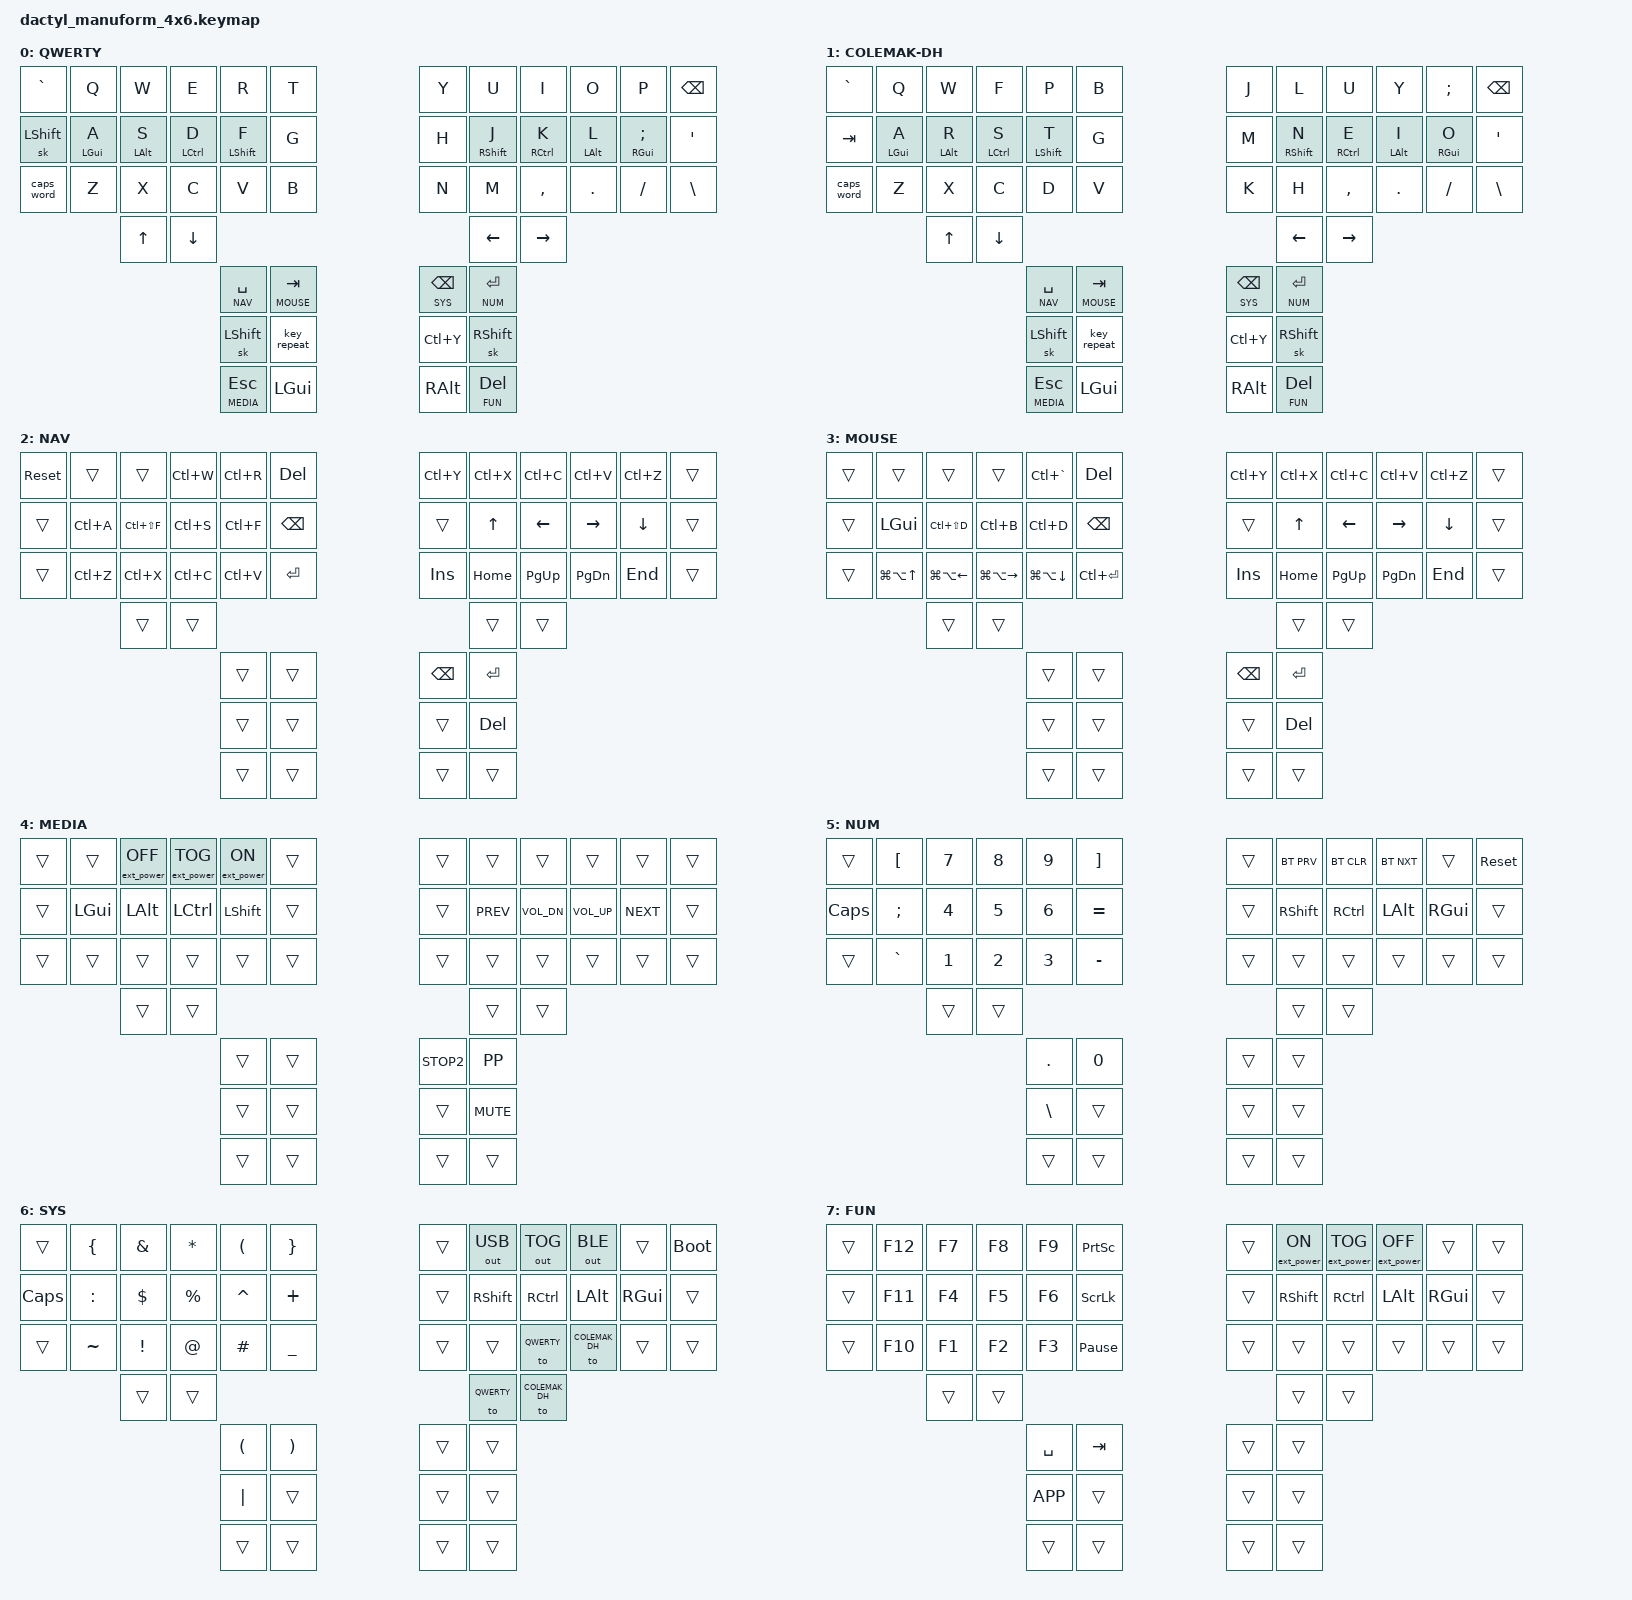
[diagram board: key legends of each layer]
#include <behaviors.dtsi>
#include <dt-bindings/zmk/keys.h>
#include <dt-bindings/zmk/bt.h>
#include <dt-bindings/zmk/outputs.h>
#include <dt-bindings/zmk/ext_power.h>

#define QWERTY 0
#define COLEMAK_DH 1
#define NAV 2
#define MOUSE 3
#define MEDIA 4
#define NUM 5
#define SYS 6
#define FUN 7


#define UNDO LC(Z)
#define REDO LC(Y)
#define COPY LC(C)
#define CUT LC(X)
#define PASTE LC(V)

#define P_ESC 0
#define P_Q 1
#define P_W 2
#define P_E 3
#define P_R 4 
#define P_T 5
#define P_Y 6
#define P_U 7
#define P_I 8 
#define P_O 9
#define P_P 10
#define P_BSPC 11
#define P_TAB 12
#define P_A 13
#define P_S 14
#define P_D 15
#define P_F 16
#define P_G 17
#define P_H 18
#define P_J 19
#define P_K 20
#define P_L 21
#define P_SEMI 22
#define P_SQT 23
#define P_CAPS 24
#define P_Z 25
#define P_X 26
#define P_C 27
#define P_V 28
#define P_B 29
#define P_N 30
#define P_M 31
#define P_COMMA 32
#define P_DOT 33
#define P_FSLH 34
#define P_BSLH 35
#define P_UP 36
#define P_DOWN 37
#define P_LEFT 38
#define P_RIGHT 39
#define P_NAV 40
#define P_MOUSE 41
#define P_SYS 42
#define P_NUM 43
#define P_LSHIFT 44
#define P_UNDO 45
#define P_REDO 46
#define P_RSHIFT 47
#define P_MEDIA 48
#define P_LGUI 49
#define P_RALT 50
#define P_FUN 51

#define COMBO_TIMEOUT 200
#define MACRO_TAP 10
#define MACRO_WAIT 0

&sk {
    release-after-ms = <2000>;
    quick-release;
};

&caps_word {
    continue-list = <UNDERSCORE MINUS>;
};

&lt { 
    flavor = "hold-preferred";
    tapping-term-ms = <220>;
    quick_tap_ms = <200>; 
};

/ {

    macros {
        ZMK_MACRO(m_BSPCDOT,
            wait-ms = <MACRO_WAIT>;
            tap-ms = <MACRO_TAP>;
            bindings = <&kp BSPC &kp DOT &kp SPACE>;
        )
        ZMK_MACRO(m_the,
            wait-ms = <MACRO_WAIT>;
            tap-ms = <MACRO_TAP>;
            bindings = <&kp T &kp H &kp E &kp SPACE>;
        )
        ZMK_MACRO(m_and,
            wait-ms = <MACRO_WAIT>;
            tap-ms = <MACRO_TAP>;
            bindings = <&kp A &kp N &kp D &kp SPACE>;
        )
        ZMK_MACRO(m_with,
            wait-ms = <MACRO_WAIT>;
            tap-ms = <MACRO_TAP>;
            bindings = <&kp W &kp I &kp T &kp H &kp SPACE>;
        )
        ZMK_MACRO(m_have,
            wait-ms = <MACRO_WAIT>;
            tap-ms = <MACRO_TAP>;
            bindings = <&kp H &kp A &kp V &kp E &kp SPACE>;
        )
        ZMK_MACRO(m_people,
            wait-ms = <MACRO_WAIT>;
            tap-ms = <MACRO_TAP>;
            bindings = <&kp P &kp E &kp O &kp P &kp L &kp E &kp SPACE>;
        )
        ZMK_MACRO(m_that,
            wait-ms = <MACRO_WAIT>;
            tap-ms = <MACRO_TAP>;
            bindings = <&kp T &kp H &kp A &kp T &kp SPACE>;
        )
        ZMK_MACRO(m_which,
            wait-ms = <MACRO_WAIT>;
            tap-ms = <MACRO_TAP>;
            bindings = <&kp W &kp H &kp I &kp C &kp H &kp SPACE>;
        )
        ZMK_MACRO(m_about,
            wait-ms = <MACRO_WAIT>;
            tap-ms = <MACRO_TAP>;
            bindings = <&kp A &kp B &kp O &kp U &kp T &kp SPACE>;
        )
    // MACROS END
    };


     

    behaviors {
        lh_hmsf: left_hand_homerow_mods_shift {
            compatible = "zmk,behavior-hold-tap";
            label = "LEFT_HOMEROW_MODS_SHIFT";
            #binding-cells = <2>;
            flavor = "tap-unless-interrupted";
            tapping-term-ms = <150>;    
            quick-tap-ms = <125>;
            global-quick-tap;
            bindings = <&kp>, <&kp>;
            hold-trigger-key-positions = <6 7 8 9 10 11 18 19 20 21 22 23 30 31 32 33 34 35>;    
        };

        rh_hmsf: right_hand_homerow_mods_shift {
            compatible = "zmk,behavior-hold-tap";
            label = "RIGHT_HOMEROW_MODS_SHIFT";
            #binding-cells = <2>;
            flavor = "tap-unless-interrupted";
            tapping-term-ms = <150>;    
            quick-tap-ms = <125>;
            global-quick-tap;
            bindings = <&kp>, <&kp>;
            hold-trigger-key-positions = <0 1 2 3 4 5 12 13 14 15 16 17 24 25 26 27 28 29>;   
        };

        hmctrl: homerow_mods_control {
            compatible = "zmk,behavior-hold-tap";
            label = "HOMEROW_MODS_CONTROL";
            #binding-cells = <2>;
            tapping-term-ms = <170>;
            quick-tap-ms = <125>;
            global-quick-tap;
            flavor = "tap-preferred";
            bindings = <&kp>, <&kp>;
        };

        hmgui: homerow_mods_gui {
            compatible = "zmk,behavior-hold-tap";
            label = "HOMEROW_MODS_GUI";
            #binding-cells = <2>;
            tapping-term-ms = <220>;
            quick-tap-ms = <125>;
            global-quick-tap;
            flavor = "tap-preferred";
            bindings = <&kp>, <&kp>;
        };

    };


    keymap {
        compatible = "zmk,keymap";

        qwerty {
            label = "QWERTY";
            bindings = <
                &kp GRAVE   &kp Q  &kp W  &kp E  &kp R  &kp T               &kp Y  &kp U  &kp I     &kp O   &kp P    &kp BSPC
                &sk LSHIFT &hmgui LGUI A  &hmgui LALT S  &hmctrl LCTRL D  &lh_hmsf LSHIFT F  &kp G               &kp H  &rh_hmsf RSHIFT J  &hmctrl RCTRL K     &hmgui LALT L   &hmgui RGUI SEMI &kp SQT
                &caps_word &kp Z  &kp X  &kp C  &kp V  &kp B               &kp N  &kp M  &kp COMMA &kp DOT &kp FSLH &kp BSLH
                                 &kp UP &kp DOWN                                      &kp LEFT &kp RIGHT
                                            &lt NAV SPACE  &lt MOUSE TAB           &lt SYS BSPC  &lt NUM ENTER
                                            &sk LSHIFT   &key_repeat             &kp REDO  &sk RSHIFT
                                            &lt MEDIA ESC &kp LGUI            &kp RALT &lt FUN DEL
            >;
        };

        colemak-dh {
            label = "COLEMAK-DH";
            bindings = <
                &kp GRAVE   &kp Q  &kp W  &kp F  &kp P  &kp B               &kp J  &kp L  &kp U     &kp Y   &kp SEMI    &kp BSPC
                &kp TAB &hmgui LGUI A  &hmgui LALT R  &hmctrl LCTRL S  &lh_hmsf LSHIFT T  &kp G               &kp M  &rh_hmsf RSHIFT N  &hmctrl RCTRL E     &hmgui LALT I   &hmgui RGUI O &kp SQT
                &caps_word &kp Z  &kp X  &kp C  &kp D  &kp V               &kp K  &kp H  &kp COMMA &kp DOT &kp FSLH &kp BSLH
                                 &kp UP &kp DOWN                                      &kp LEFT &kp RIGHT
                                            &lt NAV SPACE  &lt MOUSE TAB           &lt SYS BSPC  &lt NUM ENTER
                                            &sk LSHIFT   &key_repeat             &kp REDO  &sk RSHIFT
                                            &lt MEDIA ESC &kp LGUI            &kp RALT &lt FUN DEL
            >;
        };


        nav {
            label = "NAV";
            bindings = <
                &sys_reset  &trans &trans &kp LC(W) &kp LC(R) &kp DEL                &kp REDO &kp CUT &kp COPY &kp PASTE &kp UNDO &trans
                &trans  &kp LC(A) &kp LC(LS(F)) &kp LC(S) &kp LC(F) &kp BSPC      &trans &kp UP &kp LEFT &kp RIGHT &kp DOWN &trans
                &trans  &kp UNDO &kp CUT &kp COPY &kp PASTE &kp ENTER      &kp INSERT &kp HOME &kp PAGE_UP &kp PAGE_DOWN &kp END &trans
                               &trans &trans                                            &trans &trans
                                             &trans  &trans               &kp BSPC &kp ENTER
                                             &trans  &trans               &trans &kp DEL
                                             &trans  &trans               &trans &trans
            >;
        };

        mouse {
            label = "MOUSE";
            bindings = <
                &trans  &trans &trans &trans &kp LC(GRAVE) &kp DEL                &kp REDO &kp CUT &kp COPY &kp PASTE &kp UNDO &trans
                &trans  &kp LGUI &kp LC(LS(D)) &kp LC(B) &kp LC(D) &kp BSPC      &trans &kp UP &kp LEFT &kp RIGHT &kp DOWN &trans
                &trans  &kp LG(LA(UP)) &kp LG(LA(LEFT)) &kp LG(LA(RIGHT)) &kp LG(LA(DOWN)) &kp LC(ENTER)      &kp INSERT &kp HOME &kp PAGE_UP &kp PAGE_DOWN &kp END &trans
                               &trans &trans                                            &trans &trans
                                             &trans  &trans               &kp BSPC &kp ENTER
                                             &trans  &trans               &trans &kp DEL
                                             &trans  &trans               &trans &trans
            >;
        };


        media {
            label = "MEDIA";
            bindings = <
                &trans  &trans &ext_power EP_OFF &ext_power EP_TOG &ext_power EP_ON &trans                &trans  &trans &trans &trans &trans &trans
                &trans  &kp LGUI &kp LALT &kp LCTRL &kp LSHFT &trans      &trans  &kp K_PREV &kp K_VOL_DN &kp K_VOL_UP &kp K_NEXT &trans
                &trans  &trans &trans &trans &trans &trans                &trans  &trans &trans &trans &trans &trans
                               &trans &trans                                            &trans &trans
                                             &trans &trans                &kp K_STOP2 &kp K_PP
                                             &trans &trans                &trans &kp K_MUTE
                                             &trans &trans                &trans &trans
            >;
        };

        num {
            label = "NUM";
            bindings = <
                &trans  &kp LBKT &kp N7 &kp N8 &kp N9 &kp RBKT             &trans  &bt BT_PRV &bt BT_CLR &bt BT_NXT &trans &sys_reset
                &kp CAPS  &kp SEMI &kp N4 &kp N5 &kp N6 &kp EQUAL          &trans  &kp RSHFT &kp RCTRL &kp LALT &kp RGUI &trans
                &trans  &kp GRAVE &kp N1 &kp N2 &kp N3 &kp MINUS           &trans  &trans &trans &trans &trans &trans
                               &trans &trans                                            &trans &trans
                                             &kp DOT &kp N0                &trans &trans
                                             &kp BSLH  &trans              &trans &trans
                                             &trans  &trans                &trans &trans
            >;
        };

        sys {
            label = "SYS";
            bindings = <
                &trans  &kp LBRC &kp AMPERSAND &kp ASTERISK &kp LPAR &kp RBRC             &trans  &out OUT_USB &out OUT_TOG &out OUT_BLE &trans &bootloader
                &kp CAPS  &kp COLON &kp DOLLAR &kp PERCENT &kp CARET &kp PLUS          &trans  &kp RSHFT &kp RCTRL &kp LALT &kp RGUI &trans
                &trans  &kp TILDE &kp EXCL &kp AT &kp HASH &kp UNDER           &trans  &trans &to QWERTY &to COLEMAK_DH &trans &trans
                               &trans &trans                                            &to QWERTY &to COLEMAK_DH
                                             &kp LPAR &kp RPAR               &trans &trans
                                             &kp PIPE  &trans              &trans &trans
                                             &trans  &trans                &trans &trans
            >;
        };

        fun {
            label = "FUN";
            bindings = <
                &trans  &kp F12 &kp F7 &kp F8 &kp F9 &kp PSCRN              &trans  &ext_power EP_ON &ext_power EP_TOG &ext_power EP_OFF &trans &trans
                &trans  &kp F11 &kp F4 &kp F5 &kp F6 &kp SLCK               &trans  &kp RSHFT &kp RCTRL &kp LALT &kp RGUI &trans
                &trans  &kp F10 &kp F1 &kp F2 &kp F3 &kp PAUSE_BREAK        &trans  &trans &trans &trans &trans &trans
                               &trans &trans                                            &trans &trans
                                             &kp SPACE &kp TAB              &trans &trans
                                             &kp K_APP  &trans              &trans &trans
                                             &trans  &trans                 &trans &trans
            >;
        };

    };
};
